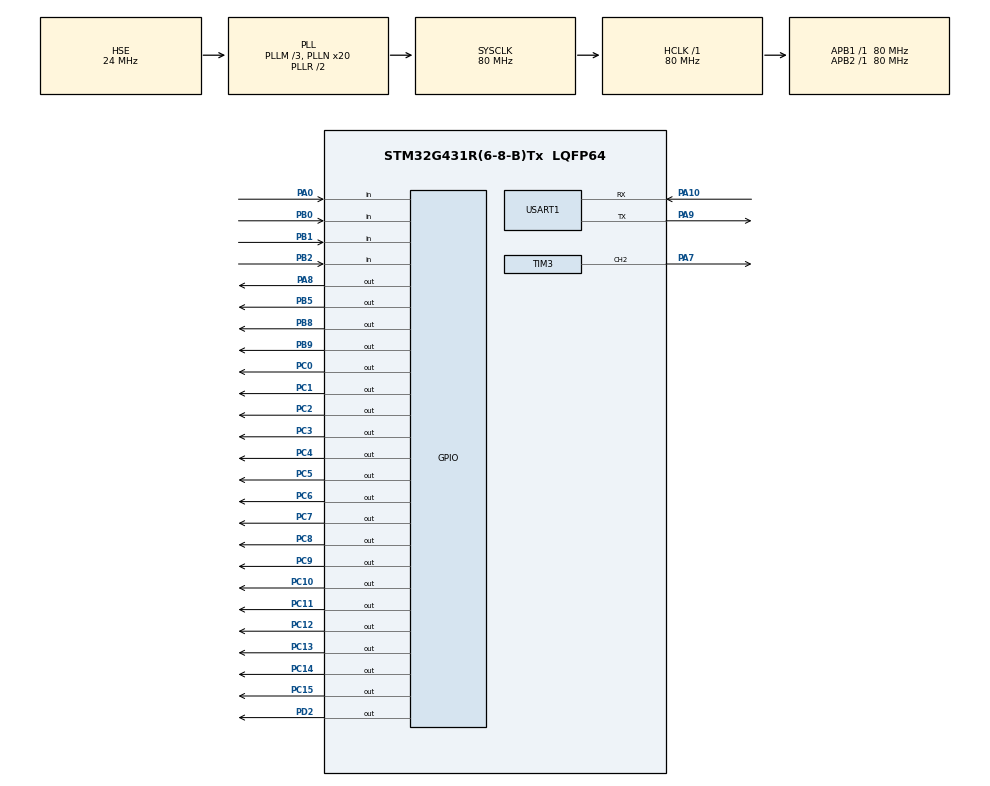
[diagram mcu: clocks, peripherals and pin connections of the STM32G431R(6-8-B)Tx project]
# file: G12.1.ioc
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Mcu.Family=STM32G4
Mcu.Name=STM32G431R(6-8-B)Tx
Mcu.Package=LQFP64
NVIC.PriorityGroup=NVIC_PRIORITYGROUP_4
NVIC.USART1_IRQn=true\:1\:0\:true\:false\:true\:true\:true\:true
PA0.GPIO_PuPd=GPIO_PULLUP
PA0.Signal=GPIO_Input
PA10.Mode=Asynchronous
PA10.Signal=USART1_RX
PA13.Mode=Serial_Wire
PA13.Signal=SYS_JTMS-SWDIO
PA14.Mode=Serial_Wire
PA14.Signal=SYS_JTCK-SWCLK
PA7.Signal=S_TIM3_CH2
PA8.Signal=GPIO_Output
PA9.Mode=Asynchronous
PA9.Signal=USART1_TX
PB0.GPIO_PuPd=GPIO_PULLUP
PB0.Signal=GPIO_Input
PB1.GPIO_PuPd=GPIO_PULLUP
PB1.Signal=GPIO_Input
PB2.GPIO_PuPd=GPIO_PULLUP
PB2.Signal=GPIO_Input
PB5.Signal=GPIO_Output
PB8-BOOT0.Signal=GPIO_Output
PB9.Signal=GPIO_Output
PC0.Signal=GPIO_Output
PC1.Signal=GPIO_Output
PC10.Signal=GPIO_Output
PC11.Signal=GPIO_Output
PC12.Signal=GPIO_Output
PC13.Signal=GPIO_Output
PC14-OSC32_IN.Signal=GPIO_Output
PC15-OSC32_OUT.Signal=GPIO_Output
PC2.Signal=GPIO_Output
PC3.Signal=GPIO_Output
PC4.Signal=GPIO_Output
PC5.Signal=GPIO_Output
PC6.Signal=GPIO_Output
PC7.Signal=GPIO_Output
PC8.Signal=GPIO_Output
PC9.Signal=GPIO_Output
PD2.Signal=GPIO_Output
PF0-OSC_IN.Mode=HSE-External-Oscillator
PF0-OSC_IN.Signal=RCC_OSC_IN
PF1-OSC_OUT.Mode=HSE-External-Oscillator
PF1-OSC_OUT.Signal=RCC_OSC_OUT
ProjectManager.HeapSize=0x200
ProjectManager.StackSize=0x400
ProjectManager.TargetToolchain=MDK-ARM V5.32
RCC.ADC12Freq_Value=80000000
RCC.AHBFreq_Value=80000000
RCC.APB1Freq_Value=80000000
RCC.APB1TimFreq_Value=80000000
RCC.APB2Freq_Value=80000000
RCC.APB2TimFreq_Value=80000000
RCC.CortexFreq_Value=80000000
RCC.EXTERNAL_CLOCK_VALUE=12288000
RCC.HCLKFreq_Value=80000000
RCC.HSE_VALUE=24000000
RCC.HSI48_VALUE=48000000
RCC.HSI_VALUE=16000000
RCC.LSE_VALUE=32768
RCC.PLLM=RCC_PLLM_DIV3
RCC.PLLN=20
RCC.PLLSourceVirtual=RCC_PLLSOURCE_HSE
RCC.SYSCLKFreq_VALUE=80000000
RCC.SYSCLKSource=RCC_SYSCLKSOURCE_PLLCLK
RCC.USBFreq_Value=80000000
RCC.VCOOutputFreq_Value=160000000
SH.S_TIM3_CH2.0=TIM3_CH2,PWM Generation2 CH2
TIM3.Channel-PWM\ Generation2\ CH2=TIM_CHANNEL_2
TIM3.PeriodNoDither=500-1
TIM3.Prescaler=80-1
TIM3.PulseNoDither_2=0
USART1.VirtualMode-Asynchronous=VM_ASYNC
VP_SYS_VS_DBSignals.Mode=DisableDeadBatterySignals
board=custom

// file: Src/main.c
/* USER CODE BEGIN Header */
/**
  ******************************************************************************
  * @file           : main.c
  * @brief          : Main program body
  ******************************************************************************
  * @attention
  *
  * Copyright (c) 2025 STMicroelectronics.
  * All rights reserved.
  *
  * This software is licensed under terms that can be found in the LICENSE file
  * in the root directory of this software component.
  * If no LICENSE file comes with this software, it is provided AS-IS.
  *
  ******************************************************************************
  */
/* USER CODE END Header */
#include "main.h"
#include "tim.h"
#include "usart.h"
#include "gpio.h"

/* USER CODE BEGIN Includes */
#include "lcd.h"
#include "stdio.h"
#include "string.h"
/* USER CODE END Includes */

/* USER CODE BEGIN PTD */

uint8_t led;
uint8_t state;      //系统状态
char buf[20];      //缓冲区
uint8_t cnbr=2;     //  停车类型1
uint8_t vnbr=4;     //  停车类型2
uint8_t idle=2;    //空闲车位
float CNBR=3.50;     //停车费用1
float VNBR=2.00;    //停车费用2
uint8_t zkb;    //按键4标志位
uint8_t ucled;   //LED灯标志位
uint8_t RX_BUFF[240] ={0}; //串口数据接收缓冲区
uint8_t stand=0;   //串口数据接收数量
uint8_t I_shi,I_fen;   //小汽车进入的时间
uint8_t O_shi,O_fen;    //小汽车出去的时间
uint8_t shi,fen;      //小汽车停车的时间
float free1;   //CNBR费用
float free2;    //VNBR费用
uint8_t uart;  //串口函数执行标志位

/* USER CODE END PTD */

/* USER CODE BEGIN PD */
//重定义函数
int fputc(int ch,FILE *f)
{
   HAL_UART_Transmit(&huart1,(uint8_t *)&ch,1,50);
    return ch;
}
/* USER CODE END PD */

void SystemClock_Config(void);
/* USER CODE BEGIN PFP */

void led_display(uint8_t led)
{
  HAL_GPIO_WritePin(GPIOD,GPIO_PIN_2,1);
	HAL_GPIO_WritePin(GPIOC,GPIO_PIN_8|GPIO_PIN_9|GPIO_PIN_10|GPIO_PIN_11|
	GPIO_PIN_12|GPIO_PIN_13|GPIO_PIN_14|GPIO_PIN_15,1);
	HAL_GPIO_WritePin(GPIOC,led<<8,0);
	HAL_GPIO_WritePin(GPIOD,GPIO_PIN_2,0);
}

//按键扫描
uint8_t KEY_scan()
{
  static uint8_t key=1;
	HAL_Delay(10);
	if(key==1&&(HAL_GPIO_ReadPin(GPIOB,GPIO_PIN_0)==0||HAL_GPIO_ReadPin(GPIOB,GPIO_PIN_1)==0||HAL_GPIO_ReadPin(GPIOB,GPIO_PIN_2)==0||HAL_GPIO_ReadPin(GPIOA,GPIO_PIN_0)==0))
	{
	   key=0;
	   if(HAL_GPIO_ReadPin(GPIOB,GPIO_PIN_0)==0)
		 {
		  return 1;
		 }
		 if(HAL_GPIO_ReadPin(GPIOB,GPIO_PIN_1)==0)
		 {
		  return 2;
		 }
		 if(HAL_GPIO_ReadPin(GPIOB,GPIO_PIN_2)==0)
		 {
		  return 3;
		 }
		 if(HAL_GPIO_ReadPin(GPIOA,GPIO_PIN_0)==0)
		 {
		  return 4;
		 }
	}
	if(key==0&&HAL_GPIO_ReadPin(GPIOB,GPIO_PIN_0)==1&&HAL_GPIO_ReadPin(GPIOB,GPIO_PIN_1)==1&&HAL_GPIO_ReadPin(GPIOB,GPIO_PIN_2)==1&&HAL_GPIO_ReadPin(GPIOA,GPIO_PIN_0)==1)
	{
	 key=1;
	}
	return 0;
}

void key_process(uint8_t key)
{
    switch (key)
		{
			case 1:     //按键B1按下的话
				state++;
			if(state>1)
			{
			state=0;
			}
				break;
			case 2:     //按键B2按下的话
				if(state==1)
				{
				 CNBR=CNBR+0.5;
				 VNBR=VNBR+0.5;
				}
				break;
			case 3:     //按键B3按下的话
				if(state==1)
				{
				 CNBR=CNBR-0.5;
				 VNBR=VNBR-0.5;
				}
				break;
			case 4:      //按键B4按下的话
			zkb++;
			if(zkb>1)
			{
			zkb=0;
			}
			switch (zkb)
			{
				case 0:
					__HAL_TIM_SetCompare(&htim3,TIM_CHANNEL_2,0);//占空比为0
					break;
				case 1:

				__HAL_TIM_SetCompare(&htim3,TIM_CHANNEL_2,100);  //占空比为20%
					break;
				default:
					break;
			}

				break;
			default:
				break;

		}
}

void lcd_show()
{
  switch (state)
	{

	  case 0:
			LCD_SetBackColor(Red);         //设置行的高亮
			LCD_DisplayStringLine(Line2, (uint8_t*)"       DATA            ");
		  sprintf(buf,"      CNBR:   %d    ",cnbr);
		  LCD_DisplayStringLine(Line4,(uint8_t*)buf);
	  	sprintf(buf,"      VNBR:   %d    ",vnbr);
		  LCD_DisplayStringLine(Line6,(uint8_t*)buf);
    		sprintf(buf,"      IDLE:   %d    ",idle);
		  LCD_DisplayStringLine(Line8,(uint8_t*)buf);
		   LCD_SetBackColor(White);

			break;
		case 1:

			LCD_DisplayStringLine(Line2, (uint8_t*)"       PARA            ");
		  sprintf(buf,"      CNBR:   %.2f  ",CNBR);
		  LCD_DisplayStringLine(Line4,(uint8_t*)buf);
	  	sprintf(buf,"      VNBR:   %.2f  ",VNBR);
		  LCD_DisplayStringLine(Line6,(uint8_t*)buf);
		 LCD_DisplayStringLine(Line8,(uint8_t*)"                         ");
			break;

		default:
			break;
	}
}

void led_process()
{

   if(zkb==1)
	 {
	    ucled|=2;  //亮起LED2
	 }
	 if(zkb==0)
	 {
	   ucled&=~2;     //熄灭led2
	 }

	 if(idle>0)
	 {
		 ucled|=1;  //亮起LED1
	 }
	 else
	 {
	   ucled&=1;     //熄灭led1
	 }
	 led_display(ucled);
}

//串口接收数据处理
void uart_process()
{
	if(RX_BUFF[0]==RX_BUFF[22]&&RX_BUFF[1]==RX_BUFF[23]&&RX_BUFF[2]==RX_BUFF[24]&&RX_BUFF[3]==RX_BUFF[25]&&RX_BUFF[5]==RX_BUFF[27]&&RX_BUFF[6]==RX_BUFF[28]&&RX_BUFF[7]==RX_BUFF[29]&&RX_BUFF[8]==RX_BUFF[30])
	{
  if(RX_BUFF[0]=='C'&&RX_BUFF[22]=='C')
	{
//	   led_display(0xff);
		 I_shi=(RX_BUFF[16]-48)*10+(RX_BUFF[17]-48);
		 I_fen=(RX_BUFF[18]-48)*10+ (RX_BUFF[19]-48);

		 O_shi=(RX_BUFF[38]-48)*10+RX_BUFF[39]-48;
		 O_fen=(RX_BUFF[40]-48)*10+RX_BUFF[41]-48;

		shi=O_shi-I_shi;
		fen=O_fen-I_fen;

		if(fen<60)
		{
		  shi++;
		}
		free1=shi*CNBR;

		printf("CNBR:%c%c%c%c:%d:%.2f\r\n",RX_BUFF[5],RX_BUFF[6],RX_BUFF[7],RX_BUFF[8],shi,free1);
	}
		if(RX_BUFF[0]=='V'&&RX_BUFF[22]=='V')
	{
	   led_display(0xff);
		 I_shi=(RX_BUFF[16]-48)*10+(RX_BUFF[17]-48);
		 I_fen=(RX_BUFF[18]-48)*10+ (RX_BUFF[19]-48);

		 O_shi=(RX_BUFF[38]-48)*10+RX_BUFF[39]-48;
		 O_fen=(RX_BUFF[40]-48)*10+RX_BUFF[41]-48;

		shi=O_shi-I_shi;
		fen=O_fen-I_fen;

		if(fen<60)
		{
		 if(fen>0)
		 {
		 shi++;         //小汽车的停车时间
		 }
		}
		free2=shi*VNBR;

		printf("VNBR:%c%c%c%c:%d:%.2f\r\n",RX_BUFF[5],RX_BUFF[6],RX_BUFF[7],RX_BUFF[8],shi,free2);
	}
}
	else
 {
	printf("Error\r\n");
	}
}

/* USER CODE END PFP */

int main(void)
{

  /* MCU Configuration--------------------------------------------------------*/

  /* Reset of all peripherals, Initializes the Flash interface and the Systick. */
  HAL_Init();

  /* Configure the system clock */
  SystemClock_Config();

  /* Initialize all configured peripherals */
  MX_GPIO_Init();
  MX_TIM3_Init();
  MX_USART1_UART_Init();
  /* USER CODE BEGIN 2 */
	LCD_Init();
	LCD_Clear(White);
	LCD_SetBackColor(White);
	LCD_SetTextColor(Black);
	HAL_TIM_PWM_Start(&htim3,TIM_CHANNEL_2);
	__HAL_UART_ENABLE_IT(&huart1,UART_IT_RXNE);

  /* USER CODE END 2 */

  /* Infinite loop */
  /* USER CODE BEGIN WHILE */
  while (1)
  {
		    uint8_t Key;
//		  led&=1;   //熄灭led
//		  led|=1;    //亮起led
//			led|=~1;     //亮起除led的所以led
	   	  led^=1;
//		led_display(0xff);
//		led_display(led);
		Key=KEY_scan();
		key_process(Key);
//		if(Key==1)
//		{
//		  HAL_UART_Transmit(&huart1,RX_BUFF,44,10);
//		}
		lcd_show();
		led_process();
		if(uart==1)
		{
		uart_process();
			uart=0;
		}

//		printf("11111");

//		switch (Key)
//		{
//			case  1:
//				led_display(0xf0);
//			break;
//			case 2:
//				led_display(0x01);
//			break;
//			case 3:
//				led_display(0xff);
//			break;
//			case 4:
//				led_display(0x08);
//			default:
//				break;
//		}
    /* USER CODE END WHILE */

  }
}

void SystemClock_Config(void)
{
  RCC_OscInitTypeDef RCC_OscInitStruct = {0};
  RCC_ClkInitTypeDef RCC_ClkInitStruct = {0};

  /** Configure the main internal regulator output voltage
  */
  HAL_PWREx_ControlVoltageScaling(PWR_REGULATOR_VOLTAGE_SCALE1);

  /** Initializes the RCC Oscillators according to the specified parameters
  * in the RCC_OscInitTypeDef structure.
  */
  RCC_OscInitStruct.OscillatorType = RCC_OSCILLATORTYPE_HSE;
  RCC_OscInitStruct.HSEState = RCC_HSE_ON;
  RCC_OscInitStruct.PLL.PLLState = RCC_PLL_ON;
  RCC_OscInitStruct.PLL.PLLSource = RCC_PLLSOURCE_HSE;
  RCC_OscInitStruct.PLL.PLLM = RCC_PLLM_DIV3;
  RCC_OscInitStruct.PLL.PLLN = 20;
  RCC_OscInitStruct.PLL.PLLP = RCC_PLLP_DIV2;
  RCC_OscInitStruct.PLL.PLLQ = RCC_PLLQ_DIV2;
  RCC_OscInitStruct.PLL.PLLR = RCC_PLLR_DIV2;
  if (HAL_RCC_OscConfig(&RCC_OscInitStruct) != HAL_OK)
  {
    Error_Handler();
  }

  /** Initializes the CPU, AHB and APB buses clocks
  */
  RCC_ClkInitStruct.ClockType = RCC_CLOCKTYPE_HCLK|RCC_CLOCKTYPE_SYSCLK
                              |RCC_CLOCKTYPE_PCLK1|RCC_CLOCKTYPE_PCLK2;
  RCC_ClkInitStruct.SYSCLKSource = RCC_SYSCLKSOURCE_PLLCLK;
  RCC_ClkInitStruct.AHBCLKDivider = RCC_SYSCLK_DIV1;
  RCC_ClkInitStruct.APB1CLKDivider = RCC_HCLK_DIV1;
  RCC_ClkInitStruct.APB2CLKDivider = RCC_HCLK_DIV1;

  if (HAL_RCC_ClockConfig(&RCC_ClkInitStruct, FLASH_LATENCY_2) != HAL_OK)
  {
    Error_Handler();
  }
}

/* USER CODE BEGIN 4 */
void HAL_UART_RxHalfCpltCallback(UART_HandleTypeDef *huart)
{
  if(huart->Instance==USART1)
	{
		RX_BUFF[stand]=(uint8_t)(huart1.Instance->RDR&(uint8_t)0x00ff);
		stand++;
	__HAL_UART_CLEAR_FLAG(&huart1, UART_FLAG_RXNE);

		if(stand==44)
		{
//		memset(RX_BUFF,0,20);
			stand=0;
			uart=1;
		}

	}
}
/* USER CODE END 4 */

void Error_Handler(void)
{
  __disable_irq();
  while (1)
  {
  }
}
